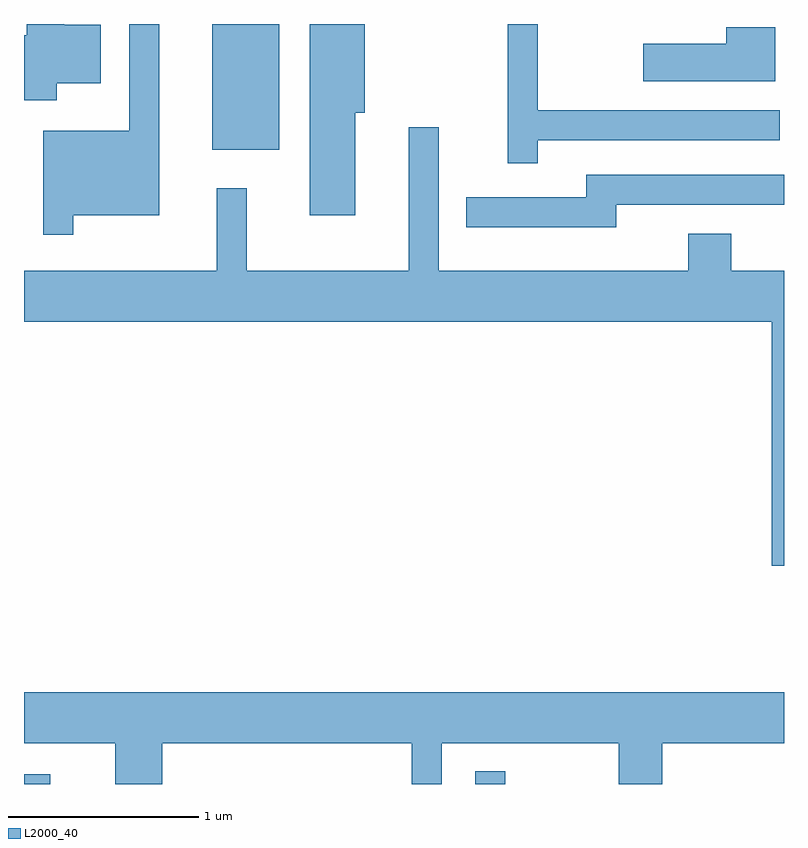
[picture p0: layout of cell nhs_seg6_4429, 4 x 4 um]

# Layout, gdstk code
import gdstk
lib = gdstk.Library(unit=1e-6, precision=1e-09)
def R(c, l, rs):  # rectangles x0, y0, x1, y1
    for r in rs: c.add(gdstk.rectangle(r[:2], r[2:], *l))
def P(c, l, *ps):  # polygons
    for p in ps: c.add(gdstk.Polygon(p, *l))
L2000_40 = (2000, 40)

nhs_seg6_4429 = lib.new_cell('nhs_seg6_4429')
R(nhs_seg6_4429, L2000_40, [(319.611,1654.162,319.749,1654.214), (321.986,1654.162,322.144,1654.228), (320.601,1657.501,320.954,1658.162)])
P(nhs_seg6_4429, L2000_40, [(319.784,1657.851),(320.014,1657.851),(320.014,1658.159),(319.824,1658.159),(319.824,1658.162),(319.626,1658.162),(319.626,1658.104),(319.611,1658.104),(319.611,1657.761),(319.784,1657.761)],
  [(319.869,1657.156),(320.324,1657.156),(320.324,1658.162),(320.166,1658.162),(320.166,1657.599),(319.711,1657.599),(319.711,1657.053),(319.869,1657.053)],
  [(321.354,1657.696),(321.404,1657.696),(321.404,1658.162),(321.116,1658.162),(321.116,1657.156),(321.354,1657.156)],
  [(322.314,1657.551),(323.588,1657.551),(323.588,1657.709),(322.314,1657.709),(322.314,1658.162),(322.156,1658.162),(322.156,1657.428),(322.314,1657.428)],
  [(323.564,1658.144),(323.306,1658.144),(323.306,1658.059),(322.871,1658.059),(322.871,1657.861),(323.564,1657.861)],
  [(323.611,1656.864),(323.334,1656.864),(323.334,1657.059),(323.106,1657.059),(323.106,1656.864),(321.794,1656.864),(321.794,1657.618),(321.636,1657.618),(321.636,1656.864),(320.784,1656.864),(320.784,1657.298),(320.626,1657.298),(320.626,1656.864),(319.611,1656.864),(319.611,1656.596),(323.546,1656.596),(323.546,1655.311),(323.611,1655.311)],
  [(322.729,1657.211),(323.611,1657.211),(323.611,1657.369),(322.571,1657.369),(322.571,1657.249),(321.938,1657.249),(321.938,1657.091),(322.729,1657.091)],
  [(320.339,1654.376),(321.651,1654.376),(321.651,1654.162),(321.809,1654.162),(321.809,1654.376),(322.741,1654.376),(322.741,1654.162),(322.969,1654.162),(322.969,1654.376),(323.611,1654.376),(323.611,1654.644),(319.611,1654.644),(319.611,1654.376),(320.091,1654.376),(320.091,1654.162),(320.339,1654.162)])

lib.write_gds('nhs_seg6_4429.gds')
